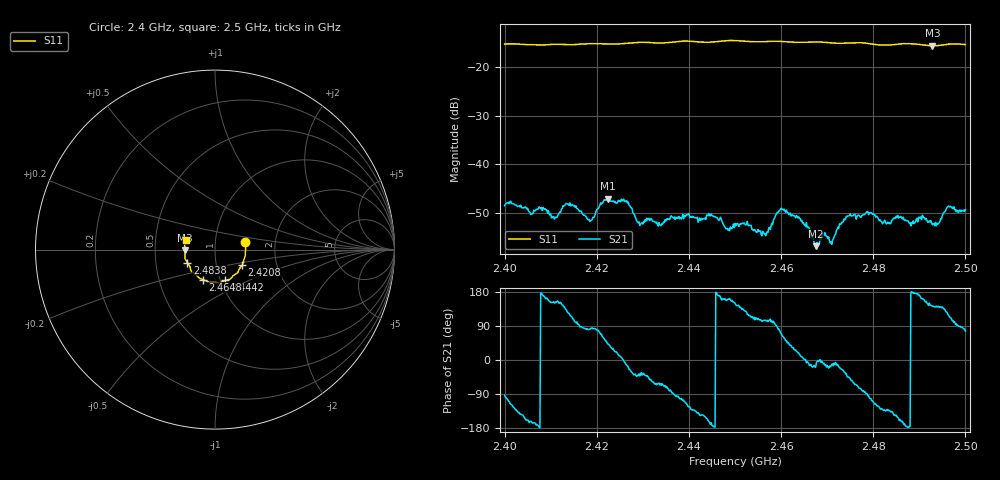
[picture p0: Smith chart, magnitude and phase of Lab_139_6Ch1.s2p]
# Hz S RI R 50
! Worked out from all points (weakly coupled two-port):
!   601 points, 2.4 GHz to 2.5 GHz, reference 50 ohm
!   highest |S21| = -47.09 dB at 2.4223 GHz (marker M1); lowest = -56.8 dB at 2.4675 GHz (marker M2)
!   lowest |S11| = -15.6 dB at 2.4928 GHz (marker M3), VSWR 1.40, Z = 35.8 - j0.351 ohm
!   |S11| at or under -10 dB: start of sweep to end of sweep
!   S12 and S22 are empty: the file has one direction only
!   S11 on the Smith chart (normalised r, x): 2.4 GHz: 1.40, +0.12; 2.4208 GHz: 1.33, -0.24; 2.4442 GHz: 1.05, -0.37; 2.4648 GHz: 0.83, -0.29; 2.4838 GHz: 0.73, -0.11; 2.5 GHz: 0.72, +0.08
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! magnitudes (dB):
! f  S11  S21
! 2.4 GHz  -15.3  -48.5
! 2.4167 GHz  -15.2  -49.7
! 2.4187 GHz  -15.2  -51.6
! 2.4208 GHz  -15.2  -47.9
! 2.4223 GHz  -15.2  -47.1
! 2.4263 GHz  -15.1  -47.7
! 2.4292 GHz  -14.9  -51.8
! 2.4333 GHz  -15.0  -52.7
! 2.4442 GHz  -14.9  -50.6
! 2.45 GHz  -14.5  -52.2
! 2.4567 GHz  -14.7  -54.7
! 2.4602 GHz  -14.7  -49.2
! 2.4648 GHz  -14.9  -52.0
! 2.4667 GHz  -14.8  -54.6
! 2.4675 GHz  -14.8  -56.8
! 2.471 GHz  -15.0  -56.5
! 2.4747 GHz  -15.0  -50.6
! 2.4833 GHz  -15.5  -52.2
! 2.4838 GHz  -15.4  -52.1
! 2.4928 GHz  -15.6  -52.5
! 2.4963 GHz  -15.3  -48.6
! 2.5 GHz  -15.4  -49.3
